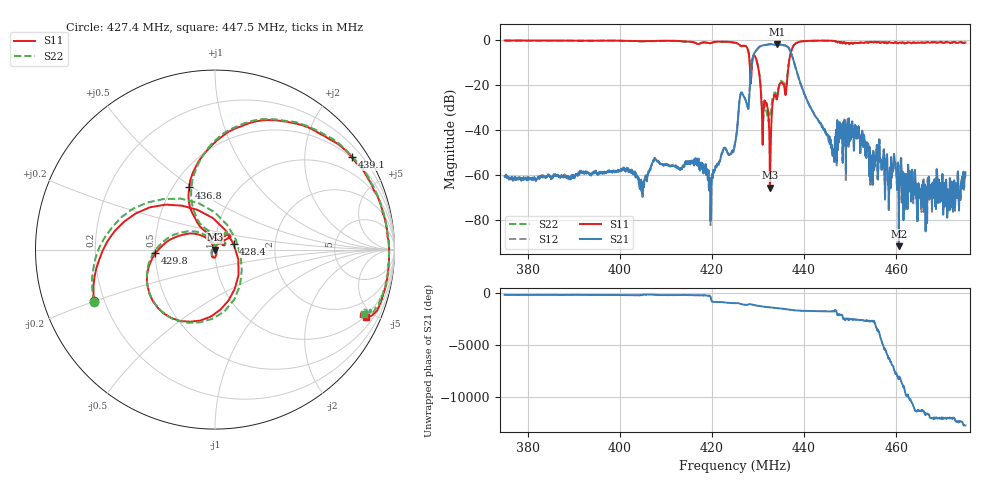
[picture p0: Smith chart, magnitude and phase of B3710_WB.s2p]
! S-Parameter for B3710 in Touchstone format with Magnitude (lin) and Phase
! Normalised impedance: 50 Ohm. Measurement system: 50 Ohm. Ta=20°C
! B3710_MB.S2P not matched. Measurement full 2-port calibrated incl. Port.Ext.
! Start: 375MHz, Stop: 475MHz, Span 100MHz, 1601 Pts., Step 62.5kHz
! Date: 10/12/04 - EPCOS SAW CE AE PD; TT
# MHz  S  MA  R  50
! Freq  S11  S21  S12  S22
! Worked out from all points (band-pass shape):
!   1601 points, 375 MHz to 475 MHz, reference 50 ohm
!   highest |S21| = -1.70 dB at 434.2 MHz (marker M1); lowest = -91.6 dB at 460.6 MHz (marker M2)
!   |S21| within 3 dB of the highest: 429.6 MHz to 437 MHz (7.393 MHz wide, 1.71 % of centre)
!   lowest |S11| = -65.6 dB at 432.6 MHz (marker M3), VSWR 1.00, Z = 50 + j0.0246 ohm
!   |S11| at or under -10 dB: 428.1766 MHz to 428.7223 MHz (545.7 kHz wide, 0.127 % of centre); 429.8 MHz to 436.7 MHz (6.902 MHz wide, 1.59 % of centre)
!   |S22| runs from -40.8 to -0.2 dB; largest |S21 - S12| = 0.0036
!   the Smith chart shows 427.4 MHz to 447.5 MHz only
!   S11 on the Smith chart (normalised r, x): 427.4 MHz: 0.16, -0.20; 428.4 MHz: 1.23, +0.07; 429.8 MHz: 0.50, -0.02; 436.8 MHz: 0.60, +0.48; 439.1 MHz: 0.48, +3.21; 447.5 MHz: 0.91, -4.47
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375  0.9781 -49.0  0.0009356 -132.7  0.0009436 -137.9  0.9744 -48.2
391.6875  0.9663 -54.3  0.001142 -145.9  0.001134 -144.5  0.9643 -53.5
404.8125  0.9409 -61.3  0.0005338 -160.2  0.0004804 -152.1  0.9359 -60.6
408.375  0.9582 -63.8  0.002078 -156.6  0.002036 -156.9  0.9539 -63.1
419.625  0.8511 -78.9  0.0004782 68.9  0.0005134 60.4  0.8466 -78.8
425  0.8772 -113.2  0.004975 144.1  0.005021 144.1  0.8707 -113.6
426.25  0.7443 -129.1  0.06528 63.5  0.06547 63.4  0.7308 -130.1
427.375  0.7312 -156.7  0.04339 -21.8  0.0435 -21.8  0.7346 -156.5
428.4375  0.1084 16.0  0.1908 28.1  0.1914 27.8  0.1285 25.9
429.75  0.3327 -176.4  0.6149 -102.2  0.6166 -102.4  0.3326 -179.5
431.0625  0.01313 -55.3  0.7664 171.9  0.7663 171.7  0.00912 -6.4
432.5625  0.000523 151.9  0.8093 94.2  0.809 94.1  0.02227 88.7
434.1875  0.05409 51.1  0.8219 17.1  0.8216 16.9  0.05614 58.7
436.8125  0.3749 112.6  0.6237 -128.6  0.6237 -128.9  0.3819 110.0
439.0625  0.9201 34.0  0.1209 134.1  0.1201 133.9  0.9204 35.2
441.6875  0.9661 3.6  0.02801 98.7  0.02789 98.7  0.9666 5.1
446.125  0.9661 -19.8  0.002961 78.7  0.00305 79.6  0.9632 -18.4
447.5  0.9197 -24.3  0.01388 80.9  0.01374 79.2  0.9073 -23.4
458.375  0.8932 -32.2  0.0001795 -142.9  0.0001668 -125.9  0.9058 -31.7
460.5625  0.8615 -32.2  2.644e-05 114.3  2.751e-05 27.7  0.8629 -32.6
471.0625  0.9046 -38.2  0.0001129 -106.6  0.0001392 -114.3  0.8981 -36.8
475  0.8835 -38.5  0.001164 -139.1  0.001165 -139.9  0.8732 -36.9
